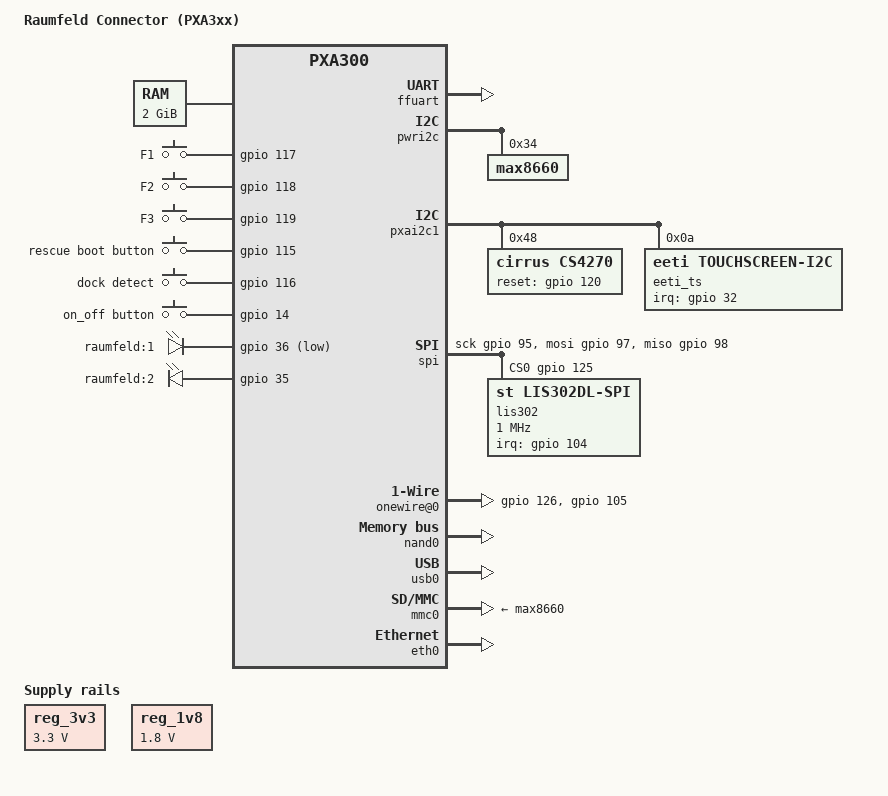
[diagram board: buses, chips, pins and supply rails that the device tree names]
/dts-v1/;
/include/ "pxa3xx.dtsi"

/ {
	model = "Raumfeld Connector (PXA3xx)";
	compatible = "marvell,raumfeld-connector-pxa3xx", "marvell,pxa300";

	chosen {
		bootargs = "console=ttyS0,115200 mem=128M@a0000000";
		linux,stdout-path = &ffuart;
	};

	memory@a0000000 {
		reg = <0xa0000000 0x80000000>;
	};

	pxabus {
		reg_3v3: voltage_3v3 {
			compatible = "regulator-fixed";
			regulator-name = "3v3-fixed-supply";
			regulator-min-microvolt = <3300000>;
			regulator-max-microvolt = <3300000>;
			regulator-always-on;
		};

		reg_1v8: voltage_1v8 {
			compatible = "regulator-fixed";
			regulator-name = "1v8-fixed-supply";
			regulator-min-microvolt = <1800000>;
			regulator-max-microvolt = <1800000>;
			regulator-always-on;
		};

		ffuart: uart@40100000 {
			status = "okay";
		};

		pwri2c: i2c@40f500c0 {
			status = "okay";

			max8660: max8660@34 {
				compatible = "max8660";
				reg = <0x34>;
			};
		};

		pxai2c1: i2c@40301680 {
			status = "okay";
			mrvl,i2c-fast-mode;

			cs4270: cs4270@48 {
				compatible = "cirrus,cs4270";
				reg = <0x48>;
				reset-gpio = <&gpio 120 0>;
			};

			eeti_ts: eeti_ts@a {
				compatible = "eeti,touchscreen-i2c";
				reg = <0xa>;
				interrupt-parent = <&gpio>;
				interrupts = <32 0>;
			};
		};

		spi {
			compatible = "spi-gpio";
			#address-cells = <0x1>;
			#size-cells = <0x1>;

			gpio-sck = <&gpio 95 0>;
			gpio-miso = <&gpio 98 0>;
			gpio-mosi = <&gpio 97 0>;
			cs-gpios = <&gpio 125 0>;
			num-chipselects = <1>;

			lis302@0 {
				compatible = "st,lis302dl-spi";
				reg = <0>;
				spi-max-frequency = <1000000>;
				interrupt-parent = <&gpio>;
				interrupts = <104 0>;

				st,click-single-x;
				st,click-single-y;
				st,click-single-z;
				st,click-thresh-x = <10>;
				st,click-thresh-y = <10>;
				st,click-thresh-z = <10>;
				st,irq1-click;
				st,irq2-click;
				st,wakeup-x-lo;
				st,wakeup-x-hi;
				st,wakeup-y-lo;
				st,wakeup-y-hi;
				st,wakeup-z-lo;
				st,wakeup-z-hi;
			};
		};

		onewire@0 {
			compatible = "w1-gpio";
			gpios = <&gpio 126 0>, <&gpio 105 0>;
		};

		nand0: nand@43100000 {
			status = "okay";
			marvell,nand-enable-arbiter;
			marvell,nand-keep-config;
			num-cs = <1>;

			partition@0 {
				label = "Bootloader";
				reg = <0x0000000 0xa0000>;
				read-only;
			};

			partition@a0000 {
				label = "BootloaderEnvironment";
				reg = <0x0a0000 0x20000>;
			};

			partition@c0000 {
				label = "BootloaderSplashScreen";
				reg = <0x0c0000 0x60000>;
			};

			partition@120000 {
				label = "UBI";
				reg = <0x120000 0x7ee0000>;
			};
		};
		
		usb0: ohci@4c000000 {
			status = "okay";
			marvell,enable-port1;
			marvell,port-mode = <2>; /* PMM_GLOBAL_MODE */
		};

		mmc0: mmc@41100000 {
			status = "okay";
			mrvl,detect-delay-ms = <200>;
			vmmc-supply = <&max8660>;
		};

		eth0: smsc@10000000 {
			compatible = "smsc,lan9115";
			reg = <0x10000000 0x100000>;
			interrupt-parent = <&gpio>;
			interrupts = <40 0x2>; /* IRQF_TRIGGER_FALLING */
			vdd33a-supply = <&reg_3v3>;			
			vddvario-supply = <&reg_1v8>;			
			reg-shift = <0>;
			reg-io-width = <4>;
			smsc,save-mac-address;
			smsc,irq-push-pull;
		};

		rotary@0 {
			status = "disabled";
			compatible = "rotary-encoder";
			gpios = <&gpio 19 1>, <&gpio 20 0>;
			linux,axis = <0>; /* REL_X */
			rotary-encoder,relative-axis;
		};

		gpio-keys@0 {
			compatible = "gpio-keys";

			f1 {
				label = "F1";
				gpios = <&gpio 117 0>;
				linux,code = <59>; /* KEY_F1 */
				gpio-key,wakeup;
			};

			f2 {
				label = "F2";
				gpios = <&gpio 118 0>;
				linux,code = <60>; /* KEY_F2 */
			};

			f3 {
				label = "F3";
				gpios = <&gpio 119 0>;
				linux,code = <61>; /* KEY_F3 */
			};

			f4 {
				label = "rescue boot button";
				gpios = <&gpio 115 0>;
				linux,code = <62>; /* KEY_F4 */
			};

			f5 {
				label = "dock detect";
				gpios = <&gpio 116 0>;
				linux,code = <63>; /* KEY_F5 */
			};

			f6 {
				label = "on_off button";
				gpios = <&gpio 14 0>;
				linux,code = <64>; /* KEY_F6 */
			};
		};

		leds {
			compatible = "gpio-leds";

			led1 {
				label = "raumfeld:1";
				gpios = <&gpio 36 1>;
				linux,default-trigger = "heartbeat";
			};
			
			led2 {
				label = "raumfeld:2";
				gpios = <&gpio 35 0>;
				linux,default-trigger = "heartbeat";
			};
		};

		sound {
			compatible = "";
			audio-codec = <&cs4270>;
		};
	};
};

